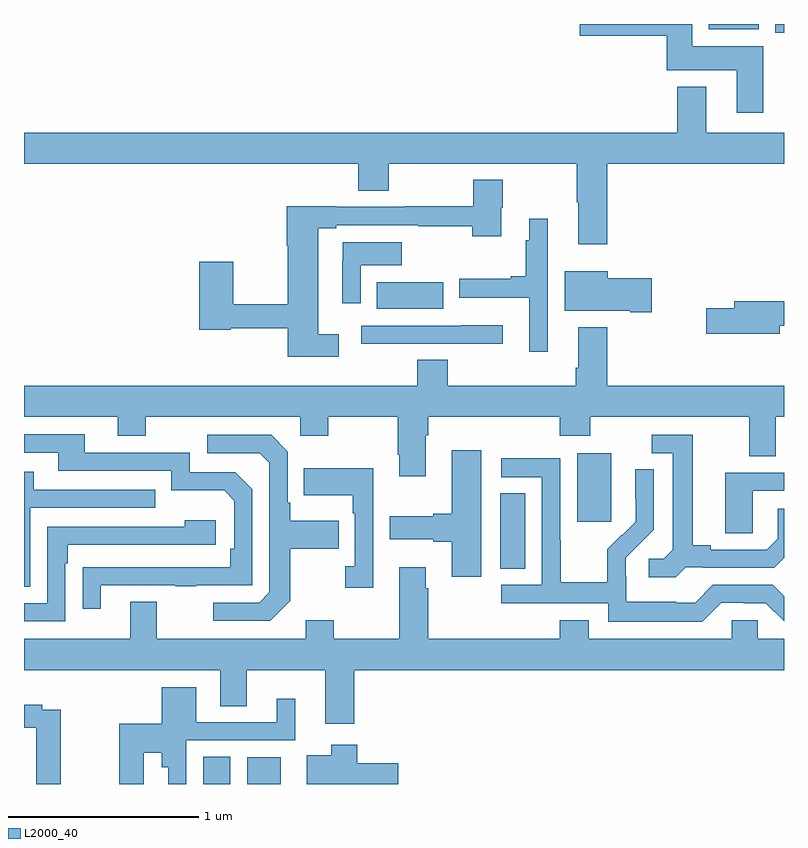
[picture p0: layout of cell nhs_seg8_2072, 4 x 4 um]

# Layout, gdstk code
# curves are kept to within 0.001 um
import gdstk
lib = gdstk.Library(unit=1e-6, precision=1e-09)
def R(c, l, rs):  # rectangles x0, y0, x1, y1
    for r in rs: c.add(gdstk.rectangle(r[:2], r[2:], *l))
def P(c, l, *ps):  # polygons
    for p in ps: c.add(gdstk.Polygon(p, *l))
L2000_40 = (2000, 40)

nhs_seg8_2072 = lib.new_cell('nhs_seg8_2072')
R(nhs_seg8_2072, L2000_40, [(241.943,1115.9,242.086,1116.044), (242.174,1115.9,242.35,1116.04), (243.506,1117.033,243.637,1117.43), (243.911,1117.281,244.09,1117.642), (242.857,1118.402,243.207,1118.542), (244.955,1119.854,245,1119.9), (244.604,1119.872,244.867,1119.9)])
P(nhs_seg8_2072, L2000_40, [(244.891,1119.784),(244.516,1119.784),(244.516,1119.9),(243.924,1119.9),(243.924,1119.839),(244.382,1119.839),(244.382,1119.656),(244.751,1119.656),(244.751,1119.432),(244.891,1119.432)],
  [(244.07,1119.164),(245,1119.164),(245,1119.328),(244.591,1119.328),(244.591,1119.571),(244.439,1119.571),(244.439,1119.328),(241,1119.328),(241,1119.164),(242.759,1119.164),(242.759,1119.022),(242.919,1119.022),(242.919,1119.164),(243.91,1119.164),(243.91,1118.962),(243.917,1118.962),(243.917,1118.742),(244.07,1118.742)],
  [(242.656,1118.267),(242.548,1118.267),(242.548,1118.825),(242.644,1118.825),(242.644,1118.841),(243.076,1118.841),(243.076,1118.836),(243.359,1118.836),(243.359,1118.784),(243.511,1118.784),(243.511,1118.934),(243.519,1118.934),(243.519,1119.079),(243.364,1119.079),(243.364,1118.94),(243.007,1118.94),(243.007,1118.937),(242.644,1118.937),(242.644,1118.94),(242.384,1118.94),(242.384,1118.734),(242.389,1118.734),(242.389,1118.426),(242.1,1118.426),(242.1,1118.65),(241.922,1118.65),(241.922,1118.29),(242.088,1118.29),(242.088,1118.298),(242.389,1118.298),(242.389,1118.15),(242.656,1118.15)],
  [(243.756,1118.653),(243.757,1118.653),(243.757,1118.875),(243.659,1118.875),(243.659,1118.762),(243.64,1118.762),(243.64,1118.572),(243.563,1118.572),(243.563,1118.559),(243.292,1118.559),(243.292,1118.459),(243.659,1118.459),(243.659,1118.175),(243.756,1118.175)],
  [(242.772,1118.63),(242.989,1118.63),(242.989,1118.751),(242.677,1118.751),(242.677,1118.648),(242.676,1118.648),(242.676,1118.43),(242.772,1118.43)],
  [(244.303,1118.561),(244.072,1118.561),(244.072,1118.599),(243.845,1118.599),(243.845,1118.39),(244.19,1118.39),(244.19,1118.383),(244.303,1118.383)],
  [(244.978,1118.313),(245,1118.313),(245,1118.441),(244.739,1118.441),(244.739,1118.405),(244.59,1118.405),(244.59,1118.27),(244.978,1118.27)],
  [(243.52,1118.314),(243.3,1118.314),(243.3,1118.313),(242.775,1118.313),(242.775,1118.217),(243.52,1118.217)],
  [(243.115,1117.736),(243.128,1117.736),(243.128,1117.832),(243.821,1117.832),(243.821,1117.733),(243.981,1117.733),(243.981,1117.832),(244.817,1117.832),(244.817,1117.624),(244.957,1117.624),(244.957,1117.832),(245,1117.832),(245,1117.996),(244.07,1117.996),(244.07,1118.305),(243.917,1118.305),(243.917,1118.092),(243.905,1118.092),(243.905,1117.996),(243.23,1117.996),(243.23,1118.132),(243.07,1118.132),(243.07,1117.996),(241,1117.996),(241,1117.832),(241.493,1117.832),(241.493,1117.733),(241.641,1117.733),(241.641,1117.832),(242.454,1117.832),(242.454,1117.733),(242.601,1117.733),(242.601,1117.832),(242.968,1117.832),(242.968,1117.633),(242.975,1117.633),(242.975,1117.521),(243.115,1117.521)],
  [(241.405,1116.945),(241.795,1116.945),(241.795,1116.94),(241.907,1116.94),(241.907,1116.945),(242.202,1116.945),(242.202,1117.452),(242.112,1117.542),(241.872,1117.542),(241.872,1117.644),(241.321,1117.644),(241.321,1117.74),(241,1117.74),(241,1117.644),(241.181,1117.644),(241.181,1117.548),(241.776,1117.548),(241.776,1117.445),(242.053,1117.445),(242.106,1117.392),(242.106,1117.138),(242.086,1117.138),(242.086,1117.041),(241.309,1117.04),(241.309,1116.822),(241.405,1116.822)],
  [(242.401,1116.865),(242.401,1117.138),(242.657,1117.138),(242.657,1117.285),(242.401,1117.285),(242.401,1117.381),(242.388,1117.381),(242.388,1117.65),(242.301,1117.737),(241.965,1117.737),(241.965,1117.641),(242.241,1117.641),(242.292,1117.59),(242.292,1116.909),(242.238,1116.855),(241.995,1116.855),(241.995,1116.759),(242.295,1116.759)],
  [(244.482,1117.041),(244.576,1117.041),(244.576,1117.038),(244.948,1117.038),(245,1117.09),(245,1117.348),(244.967,1117.348),(244.967,1117.191),(244.91,1117.134),(244.615,1117.134),(244.615,1117.157),(244.519,1117.157),(244.519,1117.737),(244.305,1117.737),(244.305,1117.641),(244.415,1117.641),(244.415,1117.133),(244.368,1117.086),(244.287,1117.086),(244.287,1116.989),(244.43,1116.989)],
  [(243.406,1117.657),(243.251,1117.657),(243.251,1117.322),(243.155,1117.322),(243.155,1117.309),(242.925,1117.309),(242.925,1117.187),(243.155,1117.187),(243.155,1117.175),(243.251,1117.175),(243.251,1116.99),(243.406,1116.99)],
  [(244.671,1116.855),(244.787,1116.855),(244.787,1116.852),(244.905,1116.852),(245,1116.757),(245,1116.889),(244.941,1116.948),(244.626,1116.948),(244.533,1116.855),(244.433,1116.855),(244.433,1116.859),(244.17,1116.859),(244.17,1116.993),(244.168,1116.993),(244.168,1117.09),(244.314,1117.238),(244.314,1117.556),(244.218,1117.556),(244.218,1117.402),(244.22,1117.402),(244.22,1117.28),(244.149,1117.209),(244.146,1117.212),(244.069,1117.135),(244.069,1116.961),(243.825,1116.961),(243.825,1117.184),(243.822,1117.184),(243.822,1117.614),(243.513,1117.614),(243.513,1117.515),(243.726,1117.515),(243.726,1116.948),(243.513,1116.948),(243.513,1116.852),(244.074,1116.852),(244.074,1116.755),(244.571,1116.755)],
  [(242.838,1117.561),(242.473,1117.561),(242.473,1117.421),(242.73,1117.421),(242.73,1117.325),(242.742,1117.325),(242.742,1117.046),(242.691,1117.046),(242.691,1116.933),(242.838,1116.933)],
  [(241.032,1117.353),(241.691,1117.353),(241.691,1117.449),(241.051,1117.449),(241.051,1117.543),(241,1117.543),(241,1116.937),(241.032,1116.937)],
  [(244.836,1117.443),(245,1117.443),(245,1117.539),(244.691,1117.539),(244.691,1117.219),(244.836,1117.219)],
  [(241.218,1117.061),(241.231,1117.061),(241.231,1117.158),(242.008,1117.158),(242.008,1117.288),(241.847,1117.288),(241.847,1117.254),(241.122,1117.254),(241.122,1116.852),(241,1116.852),(241,1116.756),(241.218,1116.756)],
  [(242.033,1116.31),(242.173,1116.31),(242.173,1116.5),(242.585,1116.5),(242.585,1116.216),(242.738,1116.216),(242.738,1116.5),(245,1116.5),(245,1116.664),(244.863,1116.664),(244.863,1116.762),(244.725,1116.762),(244.725,1116.664),(243.973,1116.664),(243.973,1116.763),(243.821,1116.763),(243.821,1116.664),(243.128,1116.664),(243.128,1116.929),(243.115,1116.929),(243.115,1117.042),(242.975,1117.042),(242.975,1116.664),(242.631,1116.664),(242.631,1116.763),(242.483,1116.763),(242.483,1116.664),(241.699,1116.664),(241.699,1116.859),(241.559,1116.859),(241.559,1116.664),(241,1116.664),(241,1116.5),(242.033,1116.5)],
  [(241.63,1116.065),(241.724,1116.065),(241.724,1115.987),(241.758,1115.987),(241.758,1115.9),(241.854,1115.9),(241.854,1116.129),(242.428,1116.129),(242.428,1116.349),(242.33,1116.349),(242.33,1116.225),(241.906,1116.225),(241.906,1116.409),(241.724,1116.409),(241.724,1116.217),(241.501,1116.217),(241.501,1115.9),(241.63,1115.9)],
  [(241.194,1116.291),(241.095,1116.291),(241.095,1116.316),(241,1116.316),(241,1116.195),(241.064,1116.195),(241.064,1115.9),(241.194,1115.9)],
  [(242.971,1116.008),(242.753,1116.008),(242.753,1116.106),(242.618,1116.106),(242.618,1116.052),(242.489,1116.052),(242.489,1115.9),(242.971,1115.9)])

lib.write_gds('nhs_seg8_2072.gds')
